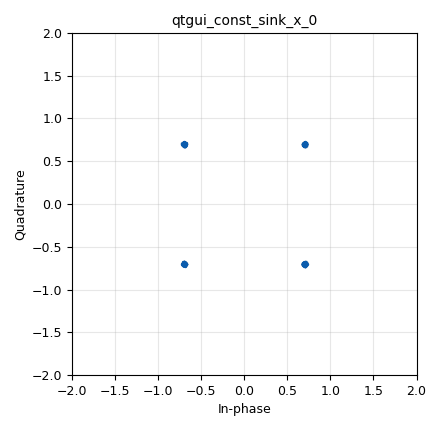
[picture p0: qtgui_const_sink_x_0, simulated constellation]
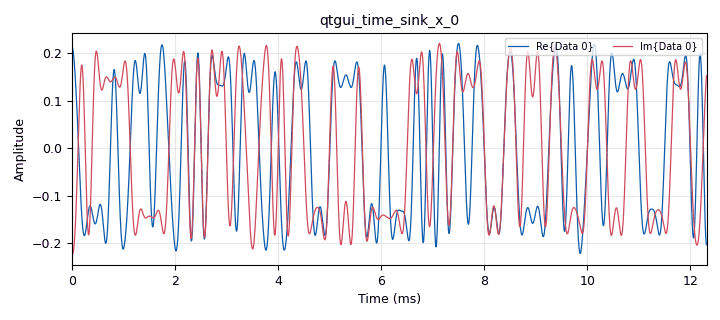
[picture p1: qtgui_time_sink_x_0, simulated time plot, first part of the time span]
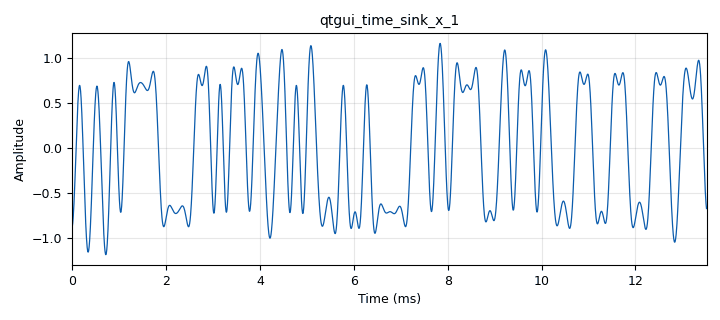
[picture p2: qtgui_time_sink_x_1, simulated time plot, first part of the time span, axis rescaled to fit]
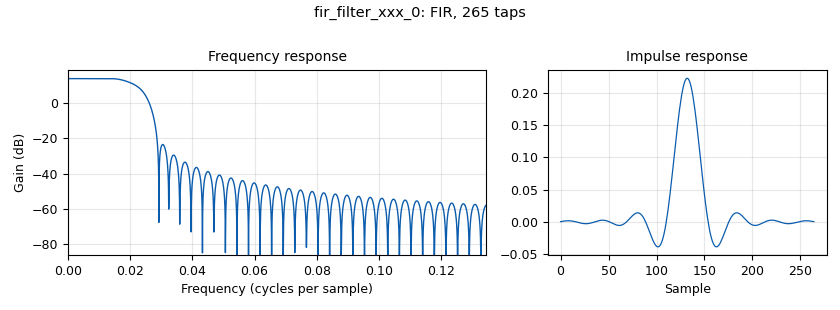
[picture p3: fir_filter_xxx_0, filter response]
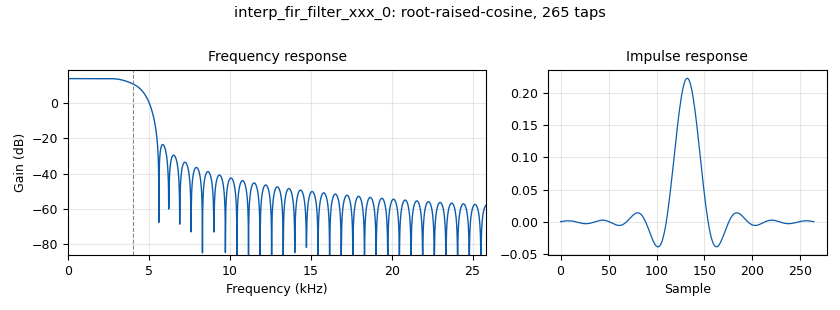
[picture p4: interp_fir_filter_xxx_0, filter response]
options:
  parameters:
    author: p
    generate_options: qt_gui
    id: default
    output_language: python
    title: Not titled yet
  states: {}

blocks:
- name: comp_delay
  id: variable_qtgui_range
  parameters:
    rangeType: int
    start: '0'
    step: '1'
    stop: sps
    value: '0'
  states: {}
- name: myconst
  id: variable_constellation
  parameters:
    const_points: '[-1-1j, -1+1j, 1+1j, 1-1j]'
    dims: '1'
    normalization: digital.constellation.AMPLITUDE_NORMALIZATION
    precision: '8'
    rot_sym: '4'
    sym_map: '[0, 1, 3, 2]'
    type: calcdist
  states: {}
- name: mypulse
  id: variable
  parameters:
    value: rrc_taps
  states: {}
- name: noisestd
  id: variable_qtgui_range
  parameters:
    start: '0'
    step: '0.1'
    stop: '100'
    value: '0.01'
  states: {}
- name: random_delay
  id: variable
  parameters:
    value: np.random.randint(0,sps)
  states: {}
- name: rrc_taps
  id: variable_rrc_filter_taps
  parameters:
    alpha: '0.35'
    gain: '4.89'
    ntaps: 11*sps
    samp_rate: samp_rate
    sym_rate: '8000'
  states: {}
- name: samp_rate
  id: variable
  parameters:
    value: '192000'
  states: {}
- name: sps
  id: variable
  parameters:
    value: 'samp_rate // 8000 '
  states: {}
- name: analog_noise_source_x_0
  id: analog_noise_source_x
  parameters:
    amp: noisestd
    noise_type: analog.GR_GAUSSIAN
    seed: '0'
    type: complex
  states: {}
- name: analog_random_source_x_0
  id: analog_random_source_x
  parameters:
    max: '4'
    min: '0'
    num_samps: '1000'
    repeat: 'True'
    type: byte
  states: {}
- name: blocks_add_xx_0
  id: blocks_add_xx
  parameters:
    type: complex
  states: {}
- name: blocks_complex_to_imag_0
  id: blocks_complex_to_imag
  parameters: {}
  states: {}
- name: blocks_delay_0
  id: blocks_delay
  parameters:
    delay: sps-comp_delay
    type: complex
  states: {}
- name: blocks_delay_0_0
  id: blocks_delay
  parameters:
    delay: random_delay
    type: complex
  states: {}
- name: blocks_throttle2_0
  id: blocks_throttle2
  parameters:
    samples_per_second: samp_rate
    type: complex
  states: {}
- name: digital_constellation_encoder_bc_0
  id: digital_constellation_encoder_bc
  parameters:
    constellation: myconst
  states: {}
- name: fir_filter_xxx_0
  id: fir_filter_xxx
  parameters:
    decim: sps
    taps: mypulse[::-1]
    type: ccc
  states: {}
- name: fir_filter_xxx_1
  id: fir_filter_xxx
  parameters:
    decim: '1'
    taps: mypulse[::-1]
    type: ccc
  states: {}
- name: import_0
  id: import
  parameters:
    imports: import numpy as np
  states: {}
- name: interp_fir_filter_xxx_0
  id: interp_fir_filter_xxx
  parameters:
    interp: sps
    taps: mypulse
    type: ccc
  states: {}
- name: qtgui_const_sink_x_0
  id: qtgui_const_sink_x
  parameters:
    size: '1024'
    type: complex
  states: {}
- name: qtgui_time_sink_x_0
  id: qtgui_time_sink_x
  parameters:
    autoscale: 'True'
    grid: 'True'
    size: 1000*sps
    srate: samp_rate
    type: complex
  states: {}
- name: qtgui_time_sink_x_1
  id: qtgui_time_sink_x
  parameters:
    size: 1000*sps
    srate: samp_rate
    type: float
  states: {}

connections:
- [analog_noise_source_x_0, '0', blocks_add_xx_0, '1']
- [analog_random_source_x_0, '0', digital_constellation_encoder_bc_0, '0']
- [blocks_add_xx_0, '0', blocks_delay_0, '0']
- [blocks_add_xx_0, '0', blocks_delay_0_0, '0']
- [blocks_complex_to_imag_0, '0', qtgui_time_sink_x_1, '0']
- [blocks_delay_0, '0', fir_filter_xxx_0, '0']
- [blocks_delay_0_0, '0', fir_filter_xxx_1, '0']
- [blocks_throttle2_0, '0', interp_fir_filter_xxx_0, '0']
- [digital_constellation_encoder_bc_0, '0', blocks_throttle2_0, '0']
- [fir_filter_xxx_0, '0', qtgui_const_sink_x_0, '0']
- [fir_filter_xxx_1, '0', blocks_complex_to_imag_0, '0']
- [interp_fir_filter_xxx_0, '0', blocks_add_xx_0, '0']
- [interp_fir_filter_xxx_0, '0', qtgui_time_sink_x_0, '0']

metadata:
  file_format: 1
  grc_version: 3.10.7.0
